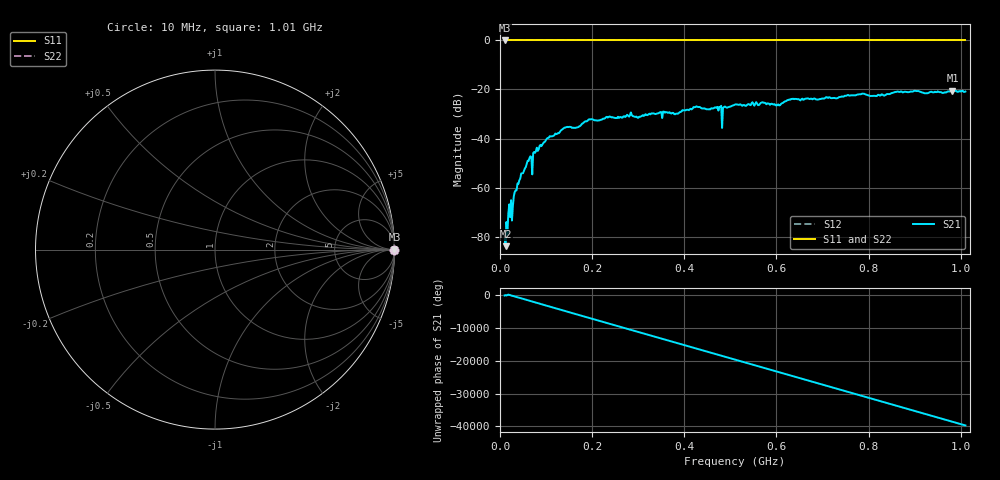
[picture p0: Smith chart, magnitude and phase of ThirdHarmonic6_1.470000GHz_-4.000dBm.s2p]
! 8/16/2025 5:07:42 PM
! C:\ANRITSUVNA\TEMP\TEMP.S2P
! CHANNEL.1
! TR.MEASUREMENT
! RAW.DATA
! RF.CORRECTION.OFF
! AVERAGING.OFF
! IF.BANDWIDTH: 5KHZ
! SWEEPTYPE:  FREQ.SWEEP(Linear)
! Reference Plane Port Info
! PORT:  PORT1  PORT2
! DISTANCE:  0  m  0  m
! TIME:  0  s  0  s
! PHASE.OFFSET:  0  deg.  0  deg.
! LOSS:  0  dB  0  dB
! REF.LOSS:  0  dB  0  dB
! REF.FREQ:  0  Hz  0  Hz
! Power Info
! POWER:  -20  dBm  -20  dBm
! EFF.POWER:  -20  dBm  -20  dBm
! SOURCE.ATTEN:  0  dB  0  dB
! TEST.ATTEN:  0  dB  0  dB
# GHZ S RI R 50.0
! FREQ.GHZ  S11RE  S11IM  S21RE  S21IM  S12RE  S12IM  S22RE  S22IM
!; PortSelection: Port_12
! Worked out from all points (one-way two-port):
!   501 points, 10 MHz to 1.01 GHz, reference 50 ohm
!   highest |S21| = -20.44 dB at 982 MHz (marker M1); lowest = -83.9 dB at 12 MHz (marker M2)
!   lowest |S11| = 0.0 dB at 10 MHz (marker M3)
!   |S11| at or under -10 dB: nowhere
!   |S22| runs from 0.0 to 0.0 dB; largest |S21 - S12| = 1.1
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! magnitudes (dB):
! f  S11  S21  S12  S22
! 10 MHz  0.0  -79.7  0.0  0.0
! 12 MHz  0.0  -83.9  0.0  0.0
! 20 MHz  0.0  -66.9  0.0  0.0
! 34 MHz  0.0  -61.2  0.0  0.0
! 64 MHz  0.0  -47.9  0.0  0.0
! 66 MHz  0.0  -47.2  0.0  0.0
! 76 MHz  0.0  -45.8  0.0  0.0
! 106 MHz  0.0  -39.6  0.0  0.0
! 178 MHz  0.0  -34.0  0.0  0.0
! 196 MHz  0.0  -32.2  0.0  0.0
! 344 MHz  0.0  -29.7  0.0  0.0
! 382 MHz  0.0  -29.9  0.0  0.0
! 428 MHz  0.0  -27.0  0.0  0.0
! 486 MHz  0.0  -27.2  0.0  0.0
! 488 MHz  0.0  -26.9  0.0  0.0
! 510 MHz  0.0  -26.2  0.0  0.0
! 604 MHz  0.0  -26.1  0.0  0.0
! 632 MHz  0.0  -23.8  0.0  0.0
! 678 MHz  0.0  -24.0  0.0  0.0
! 844 MHz  0.0  -21.9  0.0  0.0
! 982 MHz  0.0  -20.4  0.0  0.0
! 1.01 GHz  0.0  -20.8  0.0  0.0
